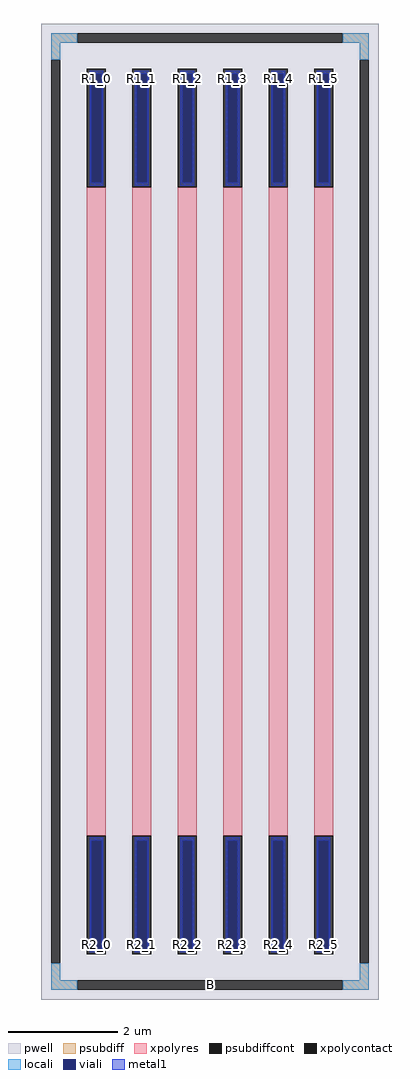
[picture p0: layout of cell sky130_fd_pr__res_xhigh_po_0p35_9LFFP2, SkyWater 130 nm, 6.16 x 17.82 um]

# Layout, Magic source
magic
tech sky130A
magscale 1 2
<< pwell >>
rect -616 -1782 616 1782
<< psubdiff >>
rect -580 1712 -484 1746
rect 484 1712 580 1746
rect -580 1650 -546 1712
rect 546 1650 580 1712
rect -580 -1712 -546 -1650
rect 546 -1712 580 -1650
rect -580 -1746 -484 -1712
rect 484 -1746 580 -1712
<< psubdiffcont >>
rect -484 1712 484 1746
rect -580 -1650 -546 1650
rect 546 -1650 580 1650
rect -484 -1746 484 -1712
<< xpolycontact >>
rect -450 1184 -380 1616
rect -450 -1616 -380 -1184
rect -284 1184 -214 1616
rect -284 -1616 -214 -1184
rect -118 1184 -48 1616
rect -118 -1616 -48 -1184
rect 48 1184 118 1616
rect 48 -1616 118 -1184
rect 214 1184 284 1616
rect 214 -1616 284 -1184
rect 380 1184 450 1616
rect 380 -1616 450 -1184
<< xpolyres >>
rect -450 -1184 -380 1184
rect -284 -1184 -214 1184
rect -118 -1184 -48 1184
rect 48 -1184 118 1184
rect 214 -1184 284 1184
rect 380 -1184 450 1184
<< locali >>
rect -580 1712 -484 1746
rect 484 1712 580 1746
rect -580 1650 -546 1712
rect 546 1650 580 1712
rect -580 -1712 -546 -1650
rect 546 -1712 580 -1650
rect -580 -1746 -484 -1712
rect 484 -1746 580 -1712
<< viali >>
rect -434 1201 -396 1598
rect -268 1201 -230 1598
rect -102 1201 -64 1598
rect 64 1201 102 1598
rect 230 1201 268 1598
rect 396 1201 434 1598
rect -434 -1598 -396 -1201
rect -268 -1598 -230 -1201
rect -102 -1598 -64 -1201
rect 64 -1598 102 -1201
rect 230 -1598 268 -1201
rect 396 -1598 434 -1201
<< metal1 >>
rect -440 1598 -390 1610
rect -440 1201 -434 1598
rect -396 1201 -390 1598
rect -440 1189 -390 1201
rect -274 1598 -224 1610
rect -274 1201 -268 1598
rect -230 1201 -224 1598
rect -274 1189 -224 1201
rect -108 1598 -58 1610
rect -108 1201 -102 1598
rect -64 1201 -58 1598
rect -108 1189 -58 1201
rect 58 1598 108 1610
rect 58 1201 64 1598
rect 102 1201 108 1598
rect 58 1189 108 1201
rect 224 1598 274 1610
rect 224 1201 230 1598
rect 268 1201 274 1598
rect 224 1189 274 1201
rect 390 1598 440 1610
rect 390 1201 396 1598
rect 434 1201 440 1598
rect 390 1189 440 1201
rect -440 -1201 -390 -1189
rect -440 -1598 -434 -1201
rect -396 -1598 -390 -1201
rect -440 -1610 -390 -1598
rect -274 -1201 -224 -1189
rect -274 -1598 -268 -1201
rect -230 -1598 -224 -1201
rect -274 -1610 -224 -1598
rect -108 -1201 -58 -1189
rect -108 -1598 -102 -1201
rect -64 -1598 -58 -1201
rect -108 -1610 -58 -1598
rect 58 -1201 108 -1189
rect 58 -1598 64 -1201
rect 102 -1598 108 -1201
rect 58 -1610 108 -1598
rect 224 -1201 274 -1189
rect 224 -1598 230 -1201
rect 268 -1598 274 -1201
rect 224 -1610 274 -1598
rect 390 -1201 440 -1189
rect 390 -1598 396 -1201
rect 434 -1598 440 -1201
rect 390 -1610 440 -1598
<< labels >>
rlabel psubdiffcont 0 -1729 0 -1729 0 B
port 1 nsew
rlabel xpolycontact -415 1581 -415 1581 0 R1_0
port 2 nsew
rlabel xpolycontact -415 -1581 -415 -1581 0 R2_0
port 3 nsew
rlabel xpolycontact -249 1581 -249 1581 0 R1_1
port 4 nsew
rlabel xpolycontact -249 -1581 -249 -1581 0 R2_1
port 5 nsew
rlabel xpolycontact -83 1581 -83 1581 0 R1_2
port 6 nsew
rlabel xpolycontact -83 -1581 -83 -1581 0 R2_2
port 7 nsew
rlabel xpolycontact 83 1581 83 1581 0 R1_3
port 8 nsew
rlabel xpolycontact 83 -1581 83 -1581 0 R2_3
port 9 nsew
rlabel xpolycontact 249 1581 249 1581 0 R1_4
port 10 nsew
rlabel xpolycontact 249 -1581 249 -1581 0 R2_4
port 11 nsew
rlabel xpolycontact 415 1581 415 1581 0 R1_5
port 12 nsew
rlabel xpolycontact 415 -1581 415 -1581 0 R2_5
port 13 nsew
<< properties >>
string FIXED_BBOX -563 -1729 563 1729
string gencell sky130_fd_pr__res_xhigh_po_0p35
string library sky130
string parameters w 0.350 l 12 m 1 nx 6 wmin 0.350 lmin 0.50 class resistor rho 2000 val 69.646k dummy 0 dw 0.0 term 188.2 sterm 0.0 caplen 0 wmax 0.350 guard 1 glc 1 grc 1 gtc 1 gbc 1 compatible {sky130_fd_pr__res_xhigh_po_0p35  sky130_fd_pr__res_xhigh_po_0p69 sky130_fd_pr__res_xhigh_po_1p41  sky130_fd_pr__res_xhigh_po_2p85 sky130_fd_pr__res_xhigh_po_5p73} snake 0 full_metal 1 n_guard 0 hv_guard 0 vias 1 viagb 0 viagt 0 viagl 0 viagr 0 doports 1
<< end >>
